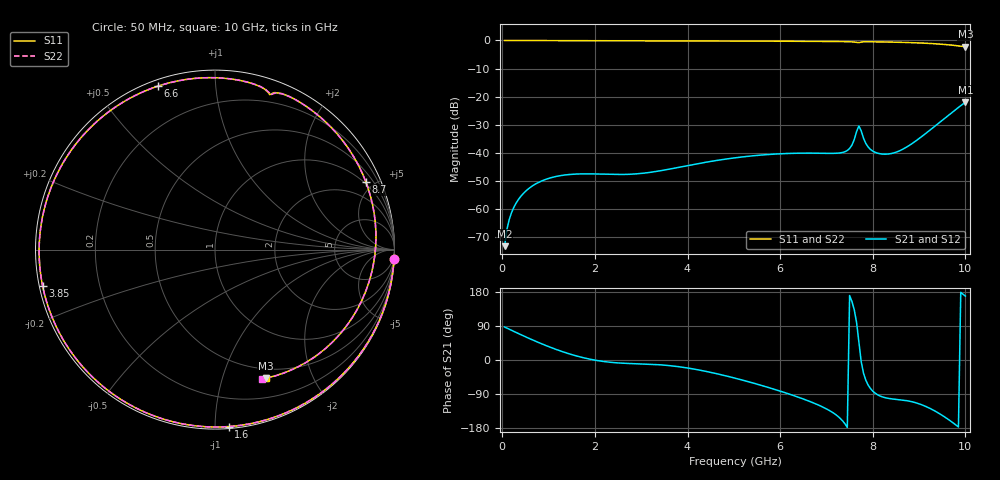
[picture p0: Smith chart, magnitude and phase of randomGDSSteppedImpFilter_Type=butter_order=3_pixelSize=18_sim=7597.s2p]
! freq	dB(S11)	phase(S11)	dB(S12)	phase(S12)
!  dB(S21)	phase(S21)	dB(S22)	phase(S22)
!S-par simulation data
#  GHz  S  DB  R 50
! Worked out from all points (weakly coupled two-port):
!   200 points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, 50 MHz to 10 GHz, reference 50 ohm
!   highest |S21| = -21.94 dB at 10 GHz (marker M1); lowest = -73.1 dB at 50 MHz (marker M2)
!   lowest |S11| = -2.3 dB at 10 GHz (marker M3), VSWR 7.73, Z = 19.7 - j69.6 ohm
!   |S11| at or under -10 dB: nowhere
!   |S22| runs from -2.3 to 0.0 dB; largest |S21 - S12| = 0
!   S11 on the Smith chart (normalised r, x): 50 MHz: 1, -39; 1.6 GHz: 0.01, -1.08; 3.85 GHz: 0.01, -0.11; 6.6 GHz: 0.03, +0.71; 8.7 GHz: 0.91, +4.51; 10 GHz: 0.39, -1.39
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0.05  -0.01 -3.0  -73.15 87.0  -73.15 87.0  -0.01 -3.0
0.1  -0.01 -5.9  -67.15 84.1  -67.15 84.1  -0.01 -5.9
0.2  -0.02 -11.7  -61.20 78.3  -61.20 78.3  -0.02 -11.7
0.45  -0.03 -26.0  -54.49 64.1  -54.49 64.1  -0.03 -26.0
1.05  -0.07 -58.7  -48.81 33.0  -48.81 33.0  -0.07 -58.7
1.6  -0.10 -85.5  -47.50 10.7  -47.50 10.7  -0.10 -85.5
1.75  -0.10 -92.3  -47.44 6.0  -47.44 6.0  -0.10 -92.3
2.6  -0.13 -126.5  -47.66 -8.5  -47.66 -8.5  -0.13 -126.5
3.4  -0.15 -153.9  -46.37 -12.6  -46.37 -12.6  -0.15 -153.9
3.85  -0.16 -168.0  -44.99 -18.4  -44.99 -18.4  -0.16 -168.0
5.05  -0.21 156.5  -41.68 -48.7  -41.68 -48.7  -0.21 156.4
6.6  -0.31 109.2  -40.07 -107.5  -40.07 -107.5  -0.31 109.0
6.7  -0.32 105.9  -40.07 -112.3  -40.07 -112.3  -0.32 105.7
7.45  -0.44 79.0  -39.13 -177.9  -39.13 -177.9  -0.44 78.7
7.55  -0.50 74.9  -37.21 154.4  -37.21 154.4  -0.50 74.7
7.7  -0.77 70.6  -30.40 46.9  -30.40 46.9  -0.76 70.2
7.95  -0.47 60.0  -38.75 -75.3  -38.75 -75.3  -0.47 59.6
8.35  -0.57 41.7  -40.34 -101.5  -40.34 -101.5  -0.58 41.2
8.7  -0.71 24.1  -38.21 -106.6  -38.21 -106.6  -0.72 23.4
9.05  -0.92 4.2  -34.26 -117.8  -34.26 -117.8  -0.93 3.4
9.4  -1.25 -18.7  -29.71 -138.6  -29.71 -138.6  -1.26 -19.8
10  -2.26 -68.6  -21.94 168.5  -21.94 168.5  -2.29 -70.2
